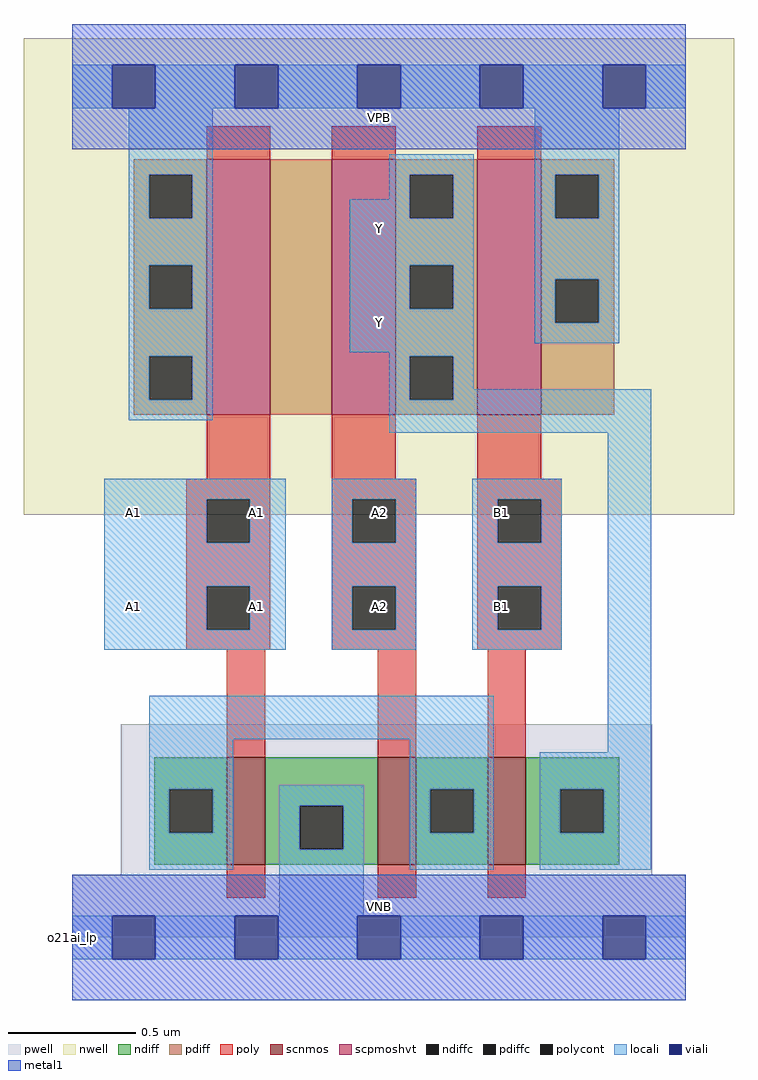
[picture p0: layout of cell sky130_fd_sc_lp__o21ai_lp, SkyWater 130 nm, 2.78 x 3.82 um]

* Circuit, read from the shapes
.subckt sky130_fd_sc_lp__o21ai_lp A1 A2 B1 VGND VNB VPB VPWR Y
XM1 VGND A1 n1 VNB sky130_fd_pr__nfet_01v8 w=0.42 l=0.15
XM2 n1 A2 VGND VNB sky130_fd_pr__nfet_01v8 w=0.42 l=0.15
XM3 Y B1 n1 VNB sky130_fd_pr__nfet_01v8 w=0.42 l=0.15
XM4 n2 A1 VPWR VPB sky130_fd_pr__pfet_01v8_hvt w=1 l=0.25
XM5 Y A2 n2 VPB sky130_fd_pr__pfet_01v8_hvt w=1 l=0.25
XM6 VPWR B1 Y VPB sky130_fd_pr__pfet_01v8_hvt w=1 l=0.25
.ends

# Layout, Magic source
magic
tech sky130A
magscale 1 2
<< nwell >>
rect -38 331 518 704
<< pwell >>
rect 38 49 454 167
rect 0 0 480 49
<< scnmos >>
rect 121 57 151 141
rect 239 57 269 141
rect 325 57 355 141
<< scpmoshvt >>
rect 105 409 155 609
rect 203 409 253 609
rect 317 409 367 609
<< ndiff >>
rect 64 116 121 141
rect 64 82 76 116
rect 110 82 121 116
rect 64 57 121 82
rect 151 103 239 141
rect 151 69 178 103
rect 212 69 239 103
rect 151 57 239 69
rect 269 116 325 141
rect 269 82 280 116
rect 314 82 325 116
rect 269 57 325 82
rect 355 116 428 141
rect 355 82 382 116
rect 416 82 428 116
rect 355 57 428 82
<< pdiff >>
rect 48 597 105 609
rect 48 563 60 597
rect 94 563 105 597
rect 48 526 105 563
rect 48 492 60 526
rect 94 492 105 526
rect 48 455 105 492
rect 48 421 60 455
rect 94 421 105 455
rect 48 409 105 421
rect 155 409 203 609
rect 253 597 317 609
rect 253 563 264 597
rect 298 563 317 597
rect 253 526 317 563
rect 253 492 264 526
rect 298 492 317 526
rect 253 455 317 492
rect 253 421 264 455
rect 298 421 317 455
rect 253 409 317 421
rect 367 597 424 609
rect 367 563 378 597
rect 412 563 424 597
rect 367 515 424 563
rect 367 481 378 515
rect 412 481 424 515
rect 367 409 424 481
<< ndiffc >>
rect 76 82 110 116
rect 178 69 212 103
rect 280 82 314 116
rect 382 82 416 116
<< pdiffc >>
rect 60 563 94 597
rect 60 492 94 526
rect 60 421 94 455
rect 264 563 298 597
rect 264 492 298 526
rect 264 421 298 455
rect 378 563 412 597
rect 378 481 412 515
<< poly >>
rect 105 609 155 635
rect 203 609 253 635
rect 317 609 367 635
rect 105 359 155 409
rect 89 343 155 359
rect 89 309 105 343
rect 139 309 155 343
rect 89 275 155 309
rect 89 241 105 275
rect 139 241 155 275
rect 89 225 155 241
rect 203 359 253 409
rect 317 359 367 409
rect 203 343 269 359
rect 203 309 219 343
rect 253 309 269 343
rect 203 275 269 309
rect 203 241 219 275
rect 253 241 269 275
rect 203 225 269 241
rect 317 343 383 359
rect 317 309 333 343
rect 367 309 383 343
rect 317 275 383 309
rect 317 241 333 275
rect 367 241 383 275
rect 317 225 383 241
rect 121 141 151 225
rect 239 141 269 225
rect 325 141 355 225
rect 121 31 151 57
rect 239 31 269 57
rect 325 31 355 57
<< polycont >>
rect 105 309 139 343
rect 105 241 139 275
rect 219 309 253 343
rect 219 241 253 275
rect 333 309 367 343
rect 333 241 367 275
<< locali >>
rect 0 649 31 683
rect 65 649 127 683
rect 161 649 223 683
rect 257 649 319 683
rect 353 649 415 683
rect 449 649 480 683
rect 44 597 110 649
rect 44 563 60 597
rect 94 563 110 597
rect 248 597 314 613
rect 248 578 264 597
rect 44 526 110 563
rect 44 492 60 526
rect 94 492 110 526
rect 44 455 110 492
rect 217 563 264 578
rect 298 563 314 597
rect 217 526 314 563
rect 217 492 264 526
rect 298 492 314 526
rect 217 458 314 492
rect 362 597 428 649
rect 362 563 378 597
rect 412 563 428 597
rect 362 515 428 563
rect 362 481 378 515
rect 412 481 428 515
rect 362 465 428 481
rect 44 421 60 455
rect 94 421 110 455
rect 44 405 110 421
rect 248 455 314 458
rect 248 421 264 455
rect 298 429 314 455
rect 298 421 453 429
rect 248 395 453 421
rect 25 343 167 359
rect 25 309 105 343
rect 139 309 167 343
rect 25 275 167 309
rect 25 241 105 275
rect 139 241 167 275
rect 25 225 167 241
rect 203 343 269 359
rect 203 309 219 343
rect 253 309 269 343
rect 203 275 269 309
rect 203 241 219 275
rect 253 241 269 275
rect 203 225 269 241
rect 313 343 383 359
rect 313 309 333 343
rect 367 309 383 343
rect 313 275 383 309
rect 313 241 333 275
rect 367 241 383 275
rect 313 225 383 241
rect 60 155 330 189
rect 60 116 126 155
rect 60 82 76 116
rect 110 82 126 116
rect 60 53 126 82
rect 162 103 228 119
rect 162 69 178 103
rect 212 69 228 103
rect 162 17 228 69
rect 264 116 330 155
rect 419 145 453 395
rect 264 82 280 116
rect 314 82 330 116
rect 264 53 330 82
rect 366 116 453 145
rect 366 82 382 116
rect 416 82 453 116
rect 366 53 453 82
rect 0 -17 31 17
rect 65 -17 127 17
rect 161 -17 223 17
rect 257 -17 319 17
rect 353 -17 415 17
rect 449 -17 480 17
<< viali >>
rect 31 649 65 683
rect 127 649 161 683
rect 223 649 257 683
rect 319 649 353 683
rect 415 649 449 683
rect 31 -17 65 17
rect 127 -17 161 17
rect 223 -17 257 17
rect 319 -17 353 17
rect 415 -17 449 17
<< metal1 >>
rect 0 683 480 715
rect 0 649 31 683
rect 65 649 127 683
rect 161 649 223 683
rect 257 649 319 683
rect 353 649 415 683
rect 449 649 480 683
rect 0 617 480 649
rect 0 17 480 49
rect 0 -17 31 17
rect 65 -17 127 17
rect 161 -17 223 17
rect 257 -17 319 17
rect 353 -17 415 17
rect 449 -17 480 17
rect 0 -49 480 -17
<< labels >>
flabel pwell s 0 0 480 49 0 FreeSans 200 0 0 0 VNB
port 5 nsew ground bidirectional
flabel nwell s 0 617 480 666 0 FreeSans 200 0 0 0 VPB
port 6 nsew power bidirectional
rlabel comment s 0 0 0 0 4 o21ai_lp
flabel metal1 s 0 617 480 666 0 FreeSans 340 0 0 0 VPWR
port 7 nsew power bidirectional
flabel metal1 s 0 0 480 49 0 FreeSans 340 0 0 0 VGND
port 4 nsew ground bidirectional
flabel locali s 223 464 257 498 0 FreeSans 340 0 0 0 Y
port 8 nsew signal output
flabel locali s 223 538 257 572 0 FreeSans 340 0 0 0 Y
port 8 nsew signal output
flabel locali s 319 242 353 276 0 FreeSans 340 0 0 0 B1
port 3 nsew signal input
flabel locali s 319 316 353 350 0 FreeSans 340 0 0 0 B1
port 3 nsew signal input
flabel locali s 223 242 257 276 0 FreeSans 340 0 0 0 A2
port 2 nsew signal input
flabel locali s 223 316 257 350 0 FreeSans 340 0 0 0 A2
port 2 nsew signal input
flabel locali s 31 242 65 276 0 FreeSans 340 0 0 0 A1
port 1 nsew signal input
flabel locali s 31 316 65 350 0 FreeSans 340 0 0 0 A1
port 1 nsew signal input
flabel locali s 127 242 161 276 0 FreeSans 340 0 0 0 A1
port 1 nsew signal input
flabel locali s 127 316 161 350 0 FreeSans 340 0 0 0 A1
port 1 nsew signal input
<< properties >>
string LEFsite unit
string LEFclass CORE
string FIXED_BBOX 0 0 480 666
string GDS_FILE $PDKPATH/libs.ref/sky130_fd_sc_lp/gds/sky130_fd_sc_lp.gds
string LEFsymmetry X Y R90
string GDS_END 4547726
string GDS_START 4542244
<< end >>
